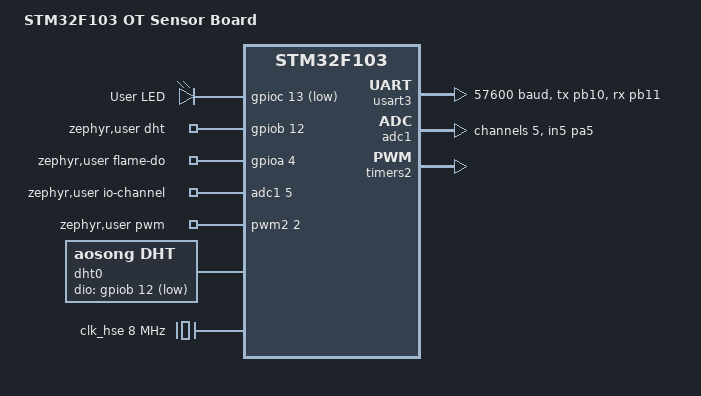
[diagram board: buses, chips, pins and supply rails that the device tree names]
/dts-v1/;
#include <zephyr/dt-bindings/adc/adc.h>
#include <zephyr/dt-bindings/gpio/gpio.h>
#include <zephyr/dt-bindings/pwm/pwm.h>
#include <st/f1/stm32f103X8.dtsi>
#include <st/f1/stm32f103r(8-b)tx-pinctrl.dtsi>

/ {
	model = "STM32F103 OT Sensor Board";
	compatible = "others,stm32f103-ot-sensor";

	chosen {
		zephyr,sram = &sram0;
		zephyr,flash = &flash0;
	};

	aliases {
		led0 = &user_led;
		rs485-uart = &usart3;
		aux-pwm = &pwm2;
	};

	leds {
		compatible = "gpio-leds";

		user_led: led_0 {
			gpios = <&gpioc 13 GPIO_ACTIVE_LOW>;
			label = "User LED";
		};
	};

	zephyr,user {
		dht-gpios = <&gpiob 12 GPIO_ACTIVE_HIGH>;
		flame-do-gpios = <&gpioa 4 GPIO_ACTIVE_HIGH>;
		io-channels = <&adc1 5>;
		pwms = <&pwm2 2 PWM_USEC(20000) PWM_POLARITY_NORMAL>;
	};

	dht0: dht0 {
		compatible = "aosong,dht";
		dio-gpios = <&gpiob 12 (GPIO_ACTIVE_LOW | GPIO_PULL_UP)>;
		status = "okay";
	};
};

&clk_hse {
	clock-frequency = <DT_FREQ_M(8)>;
	status = "okay";
};

&pll {
	mul = <9>;
	clocks = <&clk_hse>;
	status = "okay";
};

&rcc {
	clocks = <&pll>;
	clock-frequency = <DT_FREQ_M(72)>;
	ahb-prescaler = <1>;
	apb1-prescaler = <2>;
	apb2-prescaler = <1>;
};

&usart3 {
	pinctrl-0 = <&usart3_tx_pb10 &usart3_rx_pb11>;
	pinctrl-names = "default";
	current-speed = <57600>;
	status = "okay";
};

&adc1 {
	pinctrl-0 = <&adc1_in5_pa5>;
	pinctrl-names = "default";
	status = "okay";
	#address-cells = <1>;
	#size-cells = <0>;

	channel@5 {
		reg = <5>;
		zephyr,gain = "ADC_GAIN_1";
		zephyr,reference = "ADC_REF_INTERNAL";
		zephyr,acquisition-time = <ADC_ACQ_TIME_DEFAULT>;
		zephyr,resolution = <12>;
	};
};

&timers2 {
	st,prescaler = <255>;
	status = "okay";

	pwm2: pwm {
		status = "okay";
		pinctrl-0 = <&tim2_ch2_pwm_out_pa1>;
		pinctrl-names = "default";
	};
};
